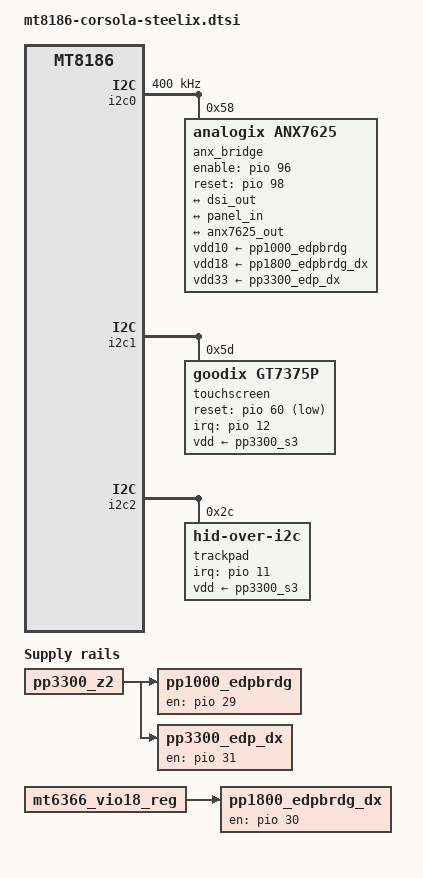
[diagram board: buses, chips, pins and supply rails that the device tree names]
// SPDX-License-Identifier: (GPL-2.0 OR MIT)
/*
 * Copyright 2022 Google LLC
 */

/dts-v1/;
#include "mt8186-corsola.dtsi"
#include <dt-bindings/gpio/gpio.h>
#include <dt-bindings/input/input.h>

/{
	pp1000_edpbrdg: regulator-pp1000-edpbrdg {
		compatible = "regulator-fixed";
		regulator-name = "pp1000_edpbrdg";
		pinctrl-names = "default";
		pinctrl-0 = <&en_pp1000_edpbrdg>;
		enable-active-high;
		regulator-boot-on;
		gpio = <&pio 29 GPIO_ACTIVE_HIGH>;
		vin-supply = <&pp3300_z2>;
	};

	pp1800_edpbrdg_dx: regulator-pp1800-edpbrdg-dx {
		compatible = "regulator-fixed";
		regulator-name = "pp1800_edpbrdg_dx";
		pinctrl-names = "default";
		pinctrl-0 = <&en_pp1800_edpbrdg>;
		enable-active-high;
		regulator-boot-on;
		gpio = <&pio 30 GPIO_ACTIVE_HIGH>;
		vin-supply = <&mt6366_vio18_reg>;
	};

	pp3300_edp_dx: regulator-pp3300-edp-dx {
		compatible = "regulator-fixed";
		regulator-name = "pp3300_edp_dx";
		pinctrl-names = "default";
		pinctrl-0 = <&en_pp3300_edpbrdg>;
		enable-active-high;
		regulator-boot-on;
		gpio = <&pio 31 GPIO_ACTIVE_HIGH>;
		vin-supply = <&pp3300_z2>;
	};
};

&dsi_out {
	remote-endpoint = <&anx7625_in>;
};

&i2c0 {
	clock-frequency = <400000>;

	anx_bridge: anx7625@58 {
		compatible = "analogix,anx7625";
		reg = <0x58>;
		pinctrl-names = "default";
		pinctrl-0 = <&anx7625_pins>;
		enable-gpios = <&pio 96 GPIO_ACTIVE_HIGH>;
		reset-gpios = <&pio 98 GPIO_ACTIVE_HIGH>;
		vdd10-supply = <&pp1000_edpbrdg>;
		vdd18-supply = <&pp1800_edpbrdg_dx>;
		vdd33-supply = <&pp3300_edp_dx>;
		analogix,lane0-swing = /bits/ 8 <0x70 0x30>;
		analogix,lane1-swing = /bits/ 8 <0x70 0x30>;

		ports {
			#address-cells = <1>;
			#size-cells = <0>;

			port@0 {
				reg = <0>;

				anx7625_in: endpoint {
					remote-endpoint = <&dsi_out>;
					data-lanes = <0 1 2 3>;
				};
			};

			port@1 {
				reg = <1>;

				anx7625_out: endpoint {
					remote-endpoint = <&panel_in>;
				};
			};
		};

		aux-bus {
			panel: panel {
				compatible = "edp-panel";
				power-supply = <&pp3300_disp_x>;
				backlight = <&backlight_lcd0>;

				port {
					panel_in: endpoint {
						remote-endpoint = <&anx7625_out>;
					};
				};
			};
		};
	};
};

&i2c1 {
	touchscreen: touchscreen@5d {
		compatible = "goodix,gt7375p";
		reg = <0x5d>;
		interrupts-extended = <&pio 12 IRQ_TYPE_EDGE_FALLING>;
		pinctrl-names = "default";
		pinctrl-0 = <&touchscreen_pins>;
		reset-gpios = <&pio 60 GPIO_ACTIVE_LOW>;
		vdd-supply = <&pp3300_s3>;
		goodix,no-reset-during-suspend;
	};
};

&i2c2 {
	i2c-scl-internal-delay-ns = <22000>;

	/* second source component */
	trackpad@2c {
		compatible = "hid-over-i2c";
		reg = <0x2c>;
		hid-descr-addr = <0x20>;
		interrupts-extended = <&pio 11 IRQ_TYPE_LEVEL_LOW>;
		vdd-supply = <&pp3300_s3>;
		wakeup-source;
	};
};

&keyboard_controller {
	function-row-physmap = <
		MATRIX_KEY(0x00, 0x02, 0)	/* T1 */
		MATRIX_KEY(0x03, 0x02, 0)	/* T2 */
		MATRIX_KEY(0x02, 0x02, 0)	/* T3 */
		MATRIX_KEY(0x01, 0x02, 0)	/* T4 */
		MATRIX_KEY(0x03, 0x04, 0)	/* T5 */
		MATRIX_KEY(0x02, 0x04, 0)	/* T6 */
		MATRIX_KEY(0x01, 0x04, 0)	/* T7 */
		MATRIX_KEY(0x02, 0x09, 0)	/* T8 */
		MATRIX_KEY(0x01, 0x09, 0)	/* T9 */
		MATRIX_KEY(0x00, 0x04, 0)	/* T10 */
	>;

	linux,keymap = <
		MATRIX_KEY(0x00, 0x02, KEY_BACK)
		MATRIX_KEY(0x03, 0x02, KEY_REFRESH)
		MATRIX_KEY(0x02, 0x02, KEY_ZOOM)
		MATRIX_KEY(0x01, 0x02, KEY_SCALE)
		MATRIX_KEY(0x03, 0x04, KEY_BRIGHTNESSDOWN)
		MATRIX_KEY(0x02, 0x04, KEY_BRIGHTNESSUP)
		MATRIX_KEY(0x01, 0x04, KEY_MICMUTE)
		MATRIX_KEY(0x02, 0x09, KEY_MUTE)
		MATRIX_KEY(0x01, 0x09, KEY_VOLUMEDOWN)
		MATRIX_KEY(0x00, 0x04, KEY_VOLUMEUP)
		CROS_STD_MAIN_KEYMAP
	>;
};

&pio {
	anx7625_pins: anx7625-pins {
		pins-int {
			pinmux = <PINMUX_GPIO9__FUNC_GPIO9>;
			input-enable;
			bias-disable;
		};

		pins-reset {
			pinmux = <PINMUX_GPIO98__FUNC_GPIO98>;
			output-low;
		};

		pins-power-en {
			pinmux = <PINMUX_GPIO96__FUNC_GPIO96>;
			output-low;
		};
	};

	en_pp1000_edpbrdg: pp1000-edpbrdg-en-pins {
		pins-vreg-en {
			pinmux = <PINMUX_GPIO29__FUNC_GPIO29>;
			output-low;
		};
	};

	en_pp1800_edpbrdg: pp1800-edpbrdg-en-pins {
		pins-vreg-en {
			pinmux = <PINMUX_GPIO30__FUNC_GPIO30>;
			output-low;
		};
	};

	en_pp3300_edpbrdg: pp3300-edpbrdg-en-pins {
		pins-vreg-en {
			pinmux = <PINMUX_GPIO31__FUNC_GPIO31>;
			output-low;
		};
	};
};
